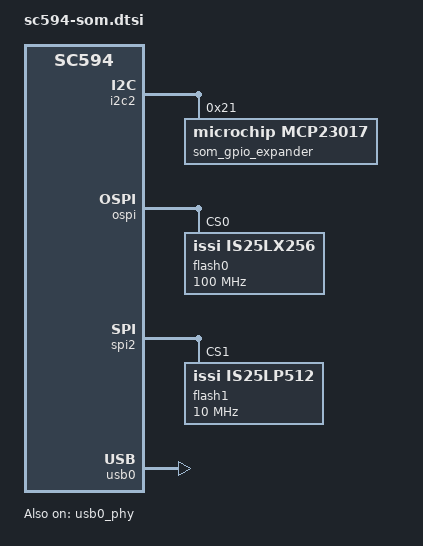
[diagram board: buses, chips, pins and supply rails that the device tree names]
// SPDX-License-Identifier: GPL-2.0-or-later
/*
 * (C) Copyright 2024 - Analog Devices, Inc.
 */

/dts-v1/;

#include "sc5xx.dtsi"
#include "sc59x.dtsi"

/{
	gic: interrupt-controller@310B2000 {
		compatible = "arm,cortex-a5-gic", "arm,cortex-a9-gic";
		#interrupt-cells = <3>;
		#address-cells = <0>;
		interrupt-controller;
		reg = <0x310B2000 0x1000>,
		      <0x310B4000 0x100>;
	};
};

&timer0 {
	clocks = <&clk ADSP_SC594_CLK_CGU0_SCLK0>;
};

&pinctrl0 {
	soc_defaults: soc_pins {
		bootph-pre-ram;
		pins {
			bootph-pre-ram;
			pinmux = <ADI_ADSP_PINMUX('A', 14, ADI_ADSP_PINFUNC_ALT0)>,
				 <ADI_ADSP_PINMUX('A', 15, ADI_ADSP_PINFUNC_ALT0)>,
				 <ADI_ADSP_PINMUX('F', 2, ADI_ADSP_PINFUNC_ALT0)>,
				 <ADI_ADSP_PINMUX('F', 3, ADI_ADSP_PINFUNC_ALT0)>,
				 <ADI_ADSP_PINMUX('F', 4, ADI_ADSP_PINFUNC_ALT0)>,
				 <ADI_ADSP_PINMUX('F', 5, ADI_ADSP_PINFUNC_ALT0)>,
				 <ADI_ADSP_PINMUX('F', 6, ADI_ADSP_PINFUNC_ALT0)>,
				 <ADI_ADSP_PINMUX('F', 7, ADI_ADSP_PINFUNC_ALT0)>,
				 <ADI_ADSP_PINMUX('F', 8, ADI_ADSP_PINFUNC_ALT0)>,
				 <ADI_ADSP_PINMUX('F', 9, ADI_ADSP_PINFUNC_ALT0)>,
				 <ADI_ADSP_PINMUX('F', 10, ADI_ADSP_PINFUNC_ALT0)>,
				 <ADI_ADSP_PINMUX('F', 11, ADI_ADSP_PINFUNC_ALT0)>,
				 <ADI_ADSP_PINMUX('F', 12, ADI_ADSP_PINFUNC_ALT0)>;
		};
	};

	ospi_default: ospi_pins {
		pins {
			pinmux = <ADI_ADSP_PINMUX('C', 8, ADI_ADSP_PINFUNC_ALT0)>,
				 <ADI_ADSP_PINMUX('C', 9, ADI_ADSP_PINFUNC_ALT0)>,
				 <ADI_ADSP_PINMUX('C', 10, ADI_ADSP_PINFUNC_ALT0)>,
				 <ADI_ADSP_PINMUX('C', 11, ADI_ADSP_PINFUNC_ALT0)>,
				 <ADI_ADSP_PINMUX('C', 12, ADI_ADSP_PINFUNC_ALT0)>,
				 <ADI_ADSP_PINMUX('C', 13, ADI_ADSP_PINFUNC_ALT0)>,
				 <ADI_ADSP_PINMUX('C', 14, ADI_ADSP_PINFUNC_ALT0)>,
				 <ADI_ADSP_PINMUX('C', 15, ADI_ADSP_PINFUNC_ALT0)>,
				 <ADI_ADSP_PINMUX('D', 0, ADI_ADSP_PINFUNC_ALT0)>,
				 <ADI_ADSP_PINMUX('D', 1, ADI_ADSP_PINFUNC_ALT0)>,
				 <ADI_ADSP_PINMUX('D', 4, ADI_ADSP_PINFUNC_ALT2)>;
		};
	};
};

&clk {
	compatible = "adi,sc594-clocks";
};

&uart0 {
	clocks = <&clk ADSP_SC594_CLK_CGU0_SCLK0>;
};

&wdog {
	clocks = <&clk ADSP_SC594_CLK_CGU0_SCLK0>;
};

&i2c0 {
	clocks = <&clk ADSP_SC594_CLK_CGU0_SCLK0>;
};

&i2c1 {
	clocks = <&clk ADSP_SC594_CLK_CGU0_SCLK0>;
};

&i2c2 {
	clocks = <&clk ADSP_SC594_CLK_CGU0_SCLK0>;
	status = "okay";

	som_gpio_expander: mcp23017@21 {
		compatible = "microchip,mcp23017";
		reg = <0x21>;
		gpio-controller;
		#gpio-cells = <2>;

		led1 {
			gpio-hog;
			gpios = <0 GPIO_ACTIVE_HIGH>;
			output-high;
			line-name = "led1-en";
		};

		led2 {
			gpio-hog;
			gpios = <1 GPIO_ACTIVE_HIGH>;
			output-high;
			line-name = "led2-en";
		};

		led3 {
			gpio-hog;
			gpios = <2 GPIO_ACTIVE_HIGH>;
			output-high;
			line-name = "led3-en";
		};

		spi2flash-cs {
			gpio-hog;
			gpios = <3 GPIO_ACTIVE_LOW>;
			output-high;
			line-name = "spi2flash-cs";
		};

		spi2d2-d3 {
			gpio-hog;
			gpios = <4 GPIO_ACTIVE_LOW>;
			output-high;
			line-name = "spi2d2-d3-en";
		};

		uart0 {
			gpio-hog;
			gpios = <5 GPIO_ACTIVE_LOW>;
			output-high;
			line-name = "uart0-en";
		};

		uart0-flow-en {
			gpio-hog;
			gpios = <6 GPIO_ACTIVE_LOW>;
			output-low;
			line-name = "uart0-flow-en";
		};

		ospiflash-cs {
			gpio-hog;
			gpios = <7 GPIO_ACTIVE_LOW>;
			output-high;
			line-name = "ospiflash-cs";
		};
	};
};

&i2c3 {
	clocks = <&clk ADSP_SC594_CLK_CGU0_SCLK0>;
};

&i2c4 {
	clocks = <&clk ADSP_SC594_CLK_CGU0_SCLK0>;
};

&i2c5 {
	clocks = <&clk ADSP_SC594_CLK_CGU0_SCLK0>;
};

&ospi {
	status = "okay";

	clocks = <&clk ADSP_SC594_CLK_OSPI>;

	flash0: is25lx256@0 {
		#address-cells = <1>;
		#size-cells = <1>;
		compatible = "issi,is25lx256", "jedec,spi-nor";
		reg = <0>;

		spi-max-frequency = <100000000>;
		cdns,spi-calib-frequency = <10000000>;

		spi-tx-bus-width = <8>;
		spi-rx-bus-width = <8>;

		tshsl-ns = <50>;
		tsd2d-ns = <50>;
		tchsh-ns = <4>;
		tslch-ns = <4>;

		cdns,phy;
	};
};

&spi2 {
	clocks = <&clk ADSP_SC594_CLK_SPI>;

	flash1: is25lp512@1 {
		#address-cells = <1>;
		#size-cells = <1>;
		compatible = "issi,is25lp512", "jedec,spi-nor";
		reg = <1>;
		spi-tx-bus-width = <4>;
		spi-rx-bus-width = <4>;
		spi-max-frequency = <10000000>;
	};
};

&usb0_phy {
	status = "okay";
	clocks = <&clk ADSP_SC594_CLK_CGU0_SCLK0>;
	clock-names = "sclk0";
};

&usb0 {
	status = "okay";
};
